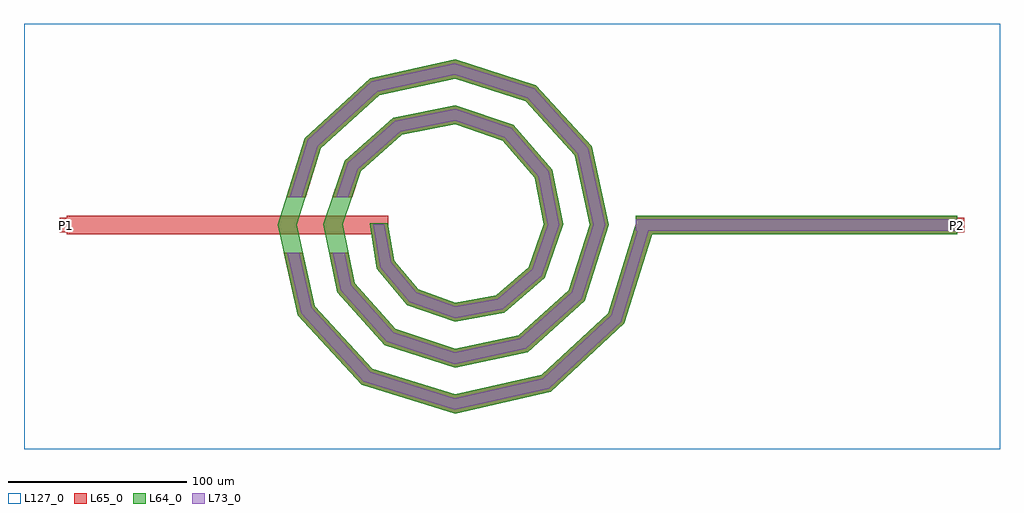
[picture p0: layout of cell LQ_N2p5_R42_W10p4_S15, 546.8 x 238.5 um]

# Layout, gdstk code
import gdstk
lib = gdstk.Library(unit=1e-6, precision=1e-09)
def R(c, l, rs):  # rectangles x0, y0, x1, y1
    for r in rs: c.add(gdstk.rectangle(r[:2], r[2:], *l))
def P(c, l, *ps):  # polygons
    for p in ps: c.add(gdstk.Polygon(p, *l))
L64_0 = (64, 0)
L65_0 = (65, 0)
L73_0 = (73, 0)
L127_0 = (127, 0)

lq_n2p5_r42_w10p4_s15 = lib.new_cell('LQ_N2p5_R42_W10p4_S15')
R(lq_n2p5_r42_w10p4_s15, L64_0, [(101.516,-5.2,281.516,5.2)])
P(lq_n2p5_r42_w10p4_s15, L64_0, [(-33.76,-20.046),(-20.302,-36.082),(0.439,-43.539),(23.204,-39.349),(41.614,-23.56),(49.959,0.388),(44.932,26.373),(26.808,47.153),(0.348,56.38),(-29.551,50.512),(-52.696,30.049),(-62.801,0.315),(-56.088,-32.735),(-33.284,-58.243),(0.288,-69.223),(35.924,-61.663),(63.793,-36.516),(75.645,0.265),(67.235,39.117),(39.745,69.345),(0.246,82.068),(-42.312,72.807),(-74.898,42.972),(-88.49,0.229),(-78.377,-45.509),(-46.196,-80.452),(0.214,-94.913),(48.709,-83.946),(86.008,-49.419),(101.747,1.535),(111.684,-1.535),(95.121,-55.155),(53.725,-93.474),(0.214,-105.672),(-51.955,-89.551),(-87.918,-50.501),(-99.249,0.229),(-83.98,48.757),(-47.275,82.363),(0.246,92.825),(45.56,78.408),(76.809,44.047),(86.401,0.265),(72.835,-42.366),(40.817,-71.256),(0.288,-79.977),(-39.174,-67.259),(-65.705,-37.582),(-73.552,0.315),(-61.681,35.987),(-34.343,60.157),(0.348,67.127),(32.805,56.099),(54.611,31.098),(60.702,0.388),(50.512,-29.629),(27.845,-49.069),(0.439,-54.275),(-26.464,-44.919),(-43.533,-24.579),(-47.609,0.881),(-37.359,0.881)])
R(lq_n2p5_r42_w10p4_s15, L65_0, [(-217.284,-5.2,-37.284,5.2), (101.516,-5.2,281.516,5.2), (-221.284,-4,-213.284,4), (277.516,-4,285.516,4)])
P(lq_n2p5_r42_w10p4_s15, L65_0, [(-78.377,-45.509),(-46.196,-80.452),(0.214,-94.913),(48.709,-83.946),(86.008,-49.419),(101.747,1.535),(111.684,-1.535),(95.121,-55.155),(53.725,-93.474),(0.214,-105.672),(-51.955,-89.551),(-87.918,-50.501),(-95.713,-15.6),(-85.057,-15.6)],
  [(-56.088,-32.735),(-33.284,-58.243),(0.288,-69.223),(35.924,-61.663),(63.793,-36.516),(75.645,0.265),(67.235,39.117),(39.745,69.345),(0.246,82.068),(-42.312,72.807),(-74.898,42.972),(-83.51,15.6),(-94.412,15.6),(-83.98,48.757),(-47.275,82.363),(0.246,92.825),(45.56,78.408),(76.809,44.047),(86.401,0.265),(72.835,-42.366),(40.817,-71.256),(0.288,-79.977),(-39.174,-67.259),(-65.705,-37.582),(-70.257,-15.6),(-59.636,-15.6)],
  [(-20.302,-36.082),(0.439,-43.539),(23.204,-39.349),(41.614,-23.56),(49.959,0.388),(44.932,26.373),(26.808,47.153),(0.348,56.38),(-29.551,50.512),(-52.696,30.049),(-57.505,15.6),(-68.466,15.6),(-61.681,35.987),(-34.343,60.157),(0.348,67.127),(32.805,56.099),(54.611,31.098),(60.702,0.388),(50.512,-29.629),(27.845,-49.069),(0.439,-54.275),(-26.464,-44.919),(-43.533,-24.579),(-47.609,0.881),(-37.359,0.881),(-33.76,-20.046)])
R(lq_n2p5_r42_w10p4_s15, L73_0, [(101.516,-3.2,281.516,3.2)])
P(lq_n2p5_r42_w10p4_s15, L73_0, [(-80.212,-46.469),(-47.304,-82.202),(0.132,-96.982),(49.673,-85.778),(87.76,-50.522),(103.658,0.944),(109.773,0.944),(93.368,-54.052),(52.76,-91.642),(0.132,-103.603),(-50.848,-87.801),(-86.083,-49.541),(-93.664,-15.6),(-87.106,-15.6)],
  [(-57.938,-33.668),(-34.417,-59.977),(0.177,-71.291),(36.865,-63.508),(65.532,-37.641),(77.714,0.163),(69.077,40.065),(40.863,71.088),(0.151,84.136),(-43.266,74.644),(-76.644,44.084),(-85.606,15.6),(-92.316,15.6),(-82.234,47.644),(-46.321,80.525),(0.151,90.756),(44.442,76.665),(74.968,43.099),(84.332,0.163),(71.096,-41.241),(39.876,-69.411),(0.177,-77.909),(-38.042,-65.525),(-63.856,-36.65),(-68.215,-15.6),(-61.679,-15.6)],
  [(-21.487,-37.782),(0.27,-45.604),(24.096,-41.218),(43.325,-24.727),(52.025,0.239),(46.794,27.282),(27.961,48.873),(0.214,58.447),(-30.473,52.367),(-54.424,31.191),(-59.613,15.6),(-66.358,15.6),(-59.953,34.845),(-33.422,58.302),(0.214,65.06),(31.652,54.379),(52.75,30.19),(58.636,0.239),(48.801,-28.462),(26.952,-47.2),(0.27,-52.211),(-25.279,-43.22),(-41.654,-23.707),(-45.638,0.542),(-39.33,0.542),(-35.639,-20.918)])
R(lq_n2p5_r42_w10p4_s15, L127_0, [(-241.284,-125.672,305.516,112.825)])
lq_n2p5_r42_w10p4_s15.add(gdstk.Label('P2', (281.516,0), layer=65, texttype=0))
lq_n2p5_r42_w10p4_s15.add(gdstk.Label('P1', (-217.284,0), layer=65, texttype=0))
lq_n2p5_r42_w10p4_s15.add(gdstk.Label('P2', (285.516,0), layer=145, texttype=0))
lq_n2p5_r42_w10p4_s15.add(gdstk.Label('P1', (-221.284,0), layer=145, texttype=0))

lib.write_gds('LQ_N2p5_R42_W10p4_S15.gds')
